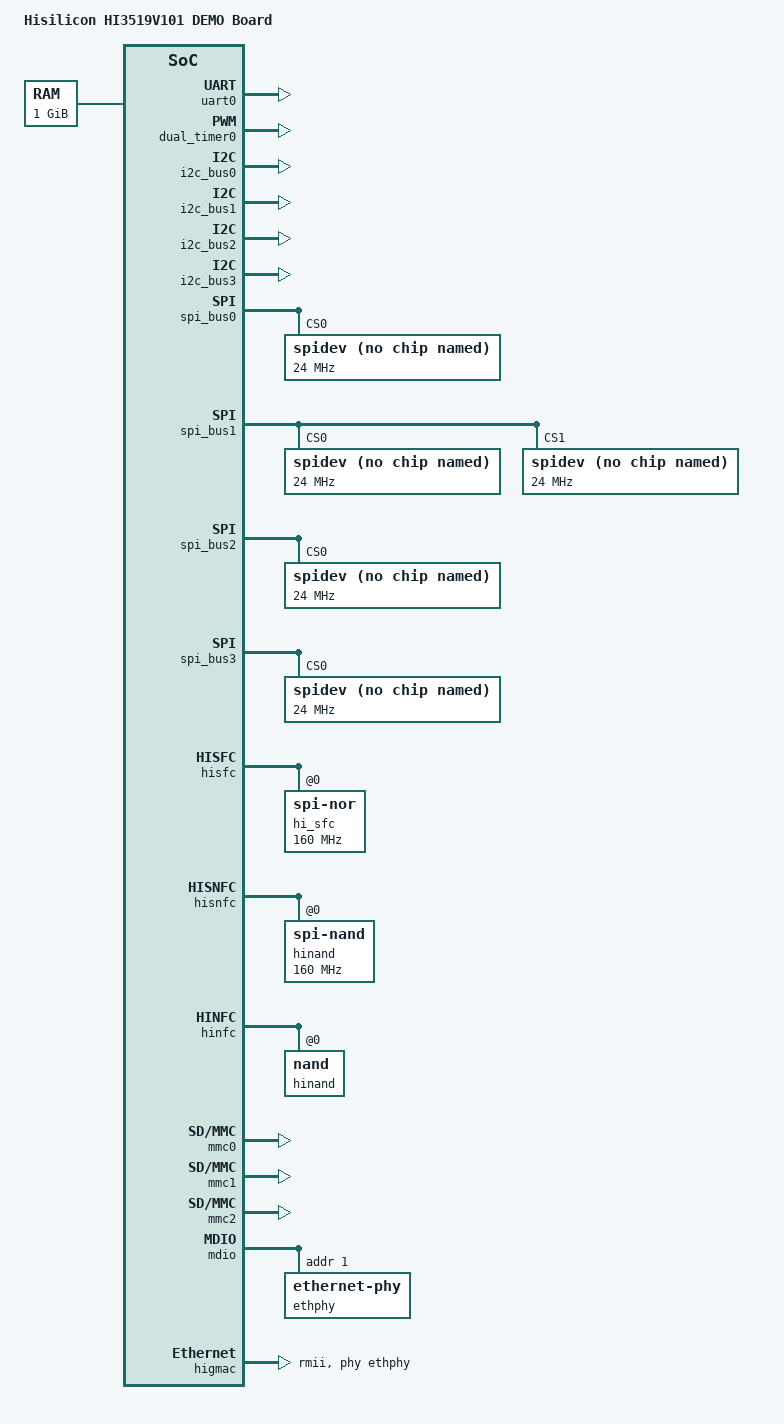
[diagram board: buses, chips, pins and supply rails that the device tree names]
/*
 * Copyright (c) 2013-2014 Linaro Ltd.
 * Copyright (c) 2015 HiSilicon Technologies Co., Ltd.
 *
 * This program is free software; you can redistribute  it and/or modify it
 * under  the terms of  the GNU General  Public License as published by the
 * Free Software Foundation;  either version 2 of the  License, or (at your
 * option) any later version.
 *
 * This program is distributed in the hope that it will be useful,
 * but WITHOUT ANY WARRANTY; without even the implied warranty of
 * MERCHANTABILITY or FITNESS FOR A PARTICULAR PURPOSE. See the
 * GNU General Public License for more details.
 *
 * You should have received a copy of the GNU General Public License
 * along with this program.  If not, see <http://www.gnu.org/licenses/>.
 *
 */

/dts-v1/;
#include "hisi-hi3519v101.dtsi"

/ {
	model = "Hisilicon HI3519V101 DEMO Board";
	compatible = "hisilicon,hi3519v101";

	chosen {
		bootargs = "console=ttyAMA0,115200 early_printk
root=/dev/mtdblock2 rootfstype=jffs2 mtdparts=hi_sfc:1M(boot),
4M(kernel),11M(rootfs)";
	};

	cpus {
		#address-cells = <1>;
		#size-cells = <0>;
		enable-method = "hisilicon,hi3519-smp";

		cpu@0 {
			compatible = "arm,cortex-a7";
			device_type = "cpu";
			clock-frequency = <HI3519_FIXED_792M>;
			reg = <0>;
			cci-control-port = <&cci_control0>;
		};

		cpu@100 {
			compatible = "arm,cortex-a17";
			device_type = "cpu";
			reg = <0x100>;
			cci-control-port = <&cci_control1>;
			operating-points = <
				/* KHz    uV */
				1250000 1060000
				1150000 1060000
				1000000 1000000
				 930000 1000000
				 792000 940000
				 594000 940000
				>;
			clocks = <&clock HI3519_A17_MUX>,
				<&clock HI3519_FIXED_400M>,
				<&clock HI3519_FIXED_500M>,
				<&clock HI3519_FIXED_594M>,
				<&clock HI3519_FIXED_792M>,
				<&clock HI3519_APLL_CLK>;
			clock-names = "a17_mux","400m", "500m",
					"594m", "792m", "apll";
			vcc-supply = <&a17_regulator>;
		};
	};

	avs {
	    compatible = "hi3519,avs";
	    avs-num = <2>;
	    avs-name-array = "cpu-avs","media-avs";
	    cpu_avs: cpu_avs{
		avs-name = "cpu-avs";
			opp-num = <6>;
			opp-freq = <1250000 1150000 1000000 930000 792000 594000 >;
			opp-volt-min = <870000 870000 800000 800000 740000 740000>;
			opp-hpm = <310 310 280 280 250 250>;
			opp-div = <24 22 19 18 15 11>;
			opp-volt-max = <1060000>;
			};

	    media_avs: media_avs{
			avs-name = "media-avs";
			opp-num = <4>;
			opp-prof-num = <2>;
			opp-temp-num = <2>;
			opp-temp = <50 200>;
			opp-freq = <1 2 3 4>;
			opp-volt-min = <
				/* profile2    profile3*/
                                  770000       770000
                                  770000       770000
				      >;
			opp-hpm = <
				/* profile2    profile3*/
				     210       215 
				     190       215
				  >;
			opp-div = <3 3 3 3>;
			opp-volt-max = <
				/* profile2    profile3*/
                                  977000       977000
                                  977000       977000
				>;
			};
	};

	memory {
		device_type = "memory";
		reg = <0x80000000 0x40000000>;
	};
};

&uart0 {
	status = "okay";
};

&dual_timer0 {
	status = "okay";
};

&i2c_bus0 {
	status = "okay";
};

&i2c_bus1 {
	status = "okay";
};

&i2c_bus2 {
	status = "okay";
};

&i2c_bus3 {
	status = "okay";
};

&spi_bus0 {
	status = "okay";

	spidev@0 {
		compatible = "rohm,dh2228fv";
		reg = <0>;
		pl022,interface = <0>;
		pl022,com-mode = <0>;
		spi-max-frequency = <24000000>;
	};

};

&spi_bus1 {
	status = "okay";

	spidev@0 {
		compatible = "rohm,dh2228fv";
		reg = <0>;
		pl022,interface = <0>;
		pl022,com-mode = <0>;
		spi-max-frequency = <24000000>;
	};

	spidev@1 {
		compatible = "rohm,dh2228fv";
		reg = <1>;
		pl022,interface = <0>;
		pl022,com-mode = <0>;
		spi-max-frequency = <24000000>;
	};
};

&spi_bus2 {
	status = "okay";

	spidev@0 {
		compatible = "rohm,dh2228fv";
		reg = <0>;
		pl022,interface = <0>;
		pl022,com-mode = <0>;
		spi-max-frequency = <24000000>;
	};
};

&spi_bus3 {
	status = "okay";

	spidev@0 {
		compatible = "rohm,dh2228fv";
		reg = <0>;
		pl022,interface = <0>;
		pl022,com-mode = <0>;
		spi-max-frequency = <24000000>;
	};
};

&hisfc {
	hi_sfc {
		compatible = "jedec,spi-nor";
		reg = <0>;
		spi-max-frequency = <160000000>;
		m25p,fast-read;
	};
};

&hisnfc {
	hinand {
		compatible = "jedec,spi-nand";
		reg = <0>;
		spi-max-frequency = <160000000>;
	};
};

&hinfc {
	hinand {
		compatible = "jedec,nand";
		reg = <0>;
		nand-max-frequency = <200000000>;
	};
};

&mmc0 {
	status = "okay";
};

&mmc1 {
	status = "okay";
};

&mmc2 {
	status = "okay";
};

&mdio {
	ethphy: ethernet-phy@1 {
		reg = <1>;
	};
};

&higmac {
	compatible = "hisilicon,higmac-v3", "hisilicon,higmac";
	phy-handle = <&ethphy>;
	phy-mode = "rmii";
};

&gpio_chip0 {
	status = "okay";
};

&gpio_chip1 {
	status = "okay";
};

&gpio_chip2 {
	status = "okay";
};

&gpio_chip3 {
	status = "okay";
};

&gpio_chip4 {
	status = "okay";
};

&gpio_chip5 {
	status = "okay";
};

&gpio_chip6 {
	status = "okay";
};

&gpio_chip7 {
	status = "okay";
};

&gpio_chip8 {
	status = "okay";
};

&gpio_chip9 {
	status = "okay";
};

&gpio_chip10 {
	status = "okay";
};

&gpio_chip11 {
	status = "okay";
};

&gpio_chip12 {
	status = "okay";
};

&gpio_chip13 {
	status = "okay";
};

&gpio_chip14 {
	status = "okay";
};

&gpio_chip16 {
	status = "okay";
};
